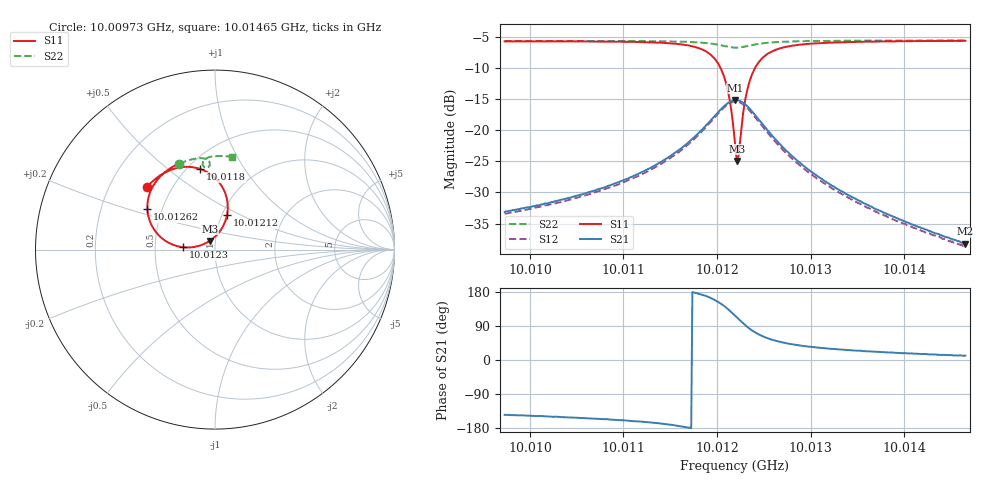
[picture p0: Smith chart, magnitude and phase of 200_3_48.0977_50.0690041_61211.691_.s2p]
#  HZ  S  RI  R  50.00
! Rohde & Schwarz Vector Network Analyzer
! Rohde-Schwarz,ZNB20-2Port,1311601062101988,3.16
! Created: UTC 12/23/2023, 3:54:40 AM
! freq[Hz]  re:S11  im:S11  re:S21  im:S21  re:S12  im:S12  re:S22  im:S22
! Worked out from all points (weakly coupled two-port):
!   401 points, 10.00973 GHz to 10.01465 GHz, reference 50 ohm
!   highest |S21| = -15.18 dB at 10.01219 GHz (marker M1); lowest = -38.2 dB at 10.01465 GHz (marker M2)
!   lowest |S11| = -24.9 dB at 10.01222 GHz (marker M3), VSWR 1.12, Z = 46.9 + j4.54 ohm
!   |S11| at or under -10 dB: 10.01204 GHz to 10.01241 GHz (370.7 kHz wide, 0.0037 % of centre)
!   |S22| runs from -6.8 to -5.6 dB; largest |S21 - S12| = 0.0086
!   S11 on the Smith chart (normalised r, x): 10.00973 GHz: 0.36, +0.34; 10.0118 GHz: 0.58, +0.65; 10.01212 GHz: 1.06, +0.42; 10.0123 GHz: 0.70, +0.02; 10.01262 GHz: 0.41, +0.23; 10.01465 GHz: 0.43, +0.57
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1.000973e10  -0.3803 0.348  -0.0179 -0.0128  -0.0168 -0.0133  -0.198 0.479
1.0010554e10  -0.3249 0.3995  -0.0272 -0.0137  -0.0255 -0.0147  -0.1459 0.4981
1.0010948e10  -0.2867 0.425  -0.0357 -0.0139  -0.0335 -0.015  -0.1191 0.5048
1.0011379e10  -0.2213 0.4524  -0.0532 -0.0122  -0.0503 -0.0144  -0.0866 0.5092
1.0011798e10  -0.0829 0.4491  -0.0938 0.00784  -0.0909 0.00261  -0.0483 0.5038
1.0011995e10  0.0363 0.3558  -0.123 0.0557  -0.1226 0.0473  -0.0303 0.486
1.0012069e10  0.0688 0.2681  -0.1247 0.0907  -0.1257 0.0827  -0.0287 0.4738
1.0012118e10  0.067 0.1921  -0.115 0.1188  -0.1175 0.1107  -0.032 0.4653
1.0012155e10  0.0458 0.132  -0.1001 0.139  -0.1035 0.1315  -0.0372 0.4602
1.0012192e10  0.00589 0.0775  -0.0794 0.1551  -0.0833 0.1478  -0.044 0.457
1.0012216e10  -0.0298 0.0483  -0.0629 0.1621  -0.0675 0.1553  -0.049 0.4566
1.0012241e10  -0.0703 0.0274  -0.0463 0.1656  -0.0502 0.1595  -0.0541 0.4573
1.0012278e10  -0.1352 0.0123  -0.0204 0.1647  -0.0244 0.1591  -0.0607 0.461
1.0012303e10  -0.1769 0.013  -0.00465 0.1606  -0.00918 0.1551  -0.064 0.4645
1.0012352e10  -0.2496 0.0338  0.0209 0.1462  0.015 0.1417  -0.0678 0.4727
1.0012413e10  -0.3128 0.079  0.0403 0.124  0.0347 0.1202  -0.0683 0.4829
1.00125e10  -0.3587 0.1479  0.052 0.0952  0.0462 0.0928  -0.0635 0.4946
1.0012623e10  -0.3767 0.2273  0.0531 0.0659  0.048 0.0647  -0.0529 0.5053
1.0013017e10  -0.345 0.3545  0.0378 0.0258  0.0348 0.0263  -0.0184 0.5184
1.0013398e10  -0.3056 0.4066  0.0272 0.0134  0.0251 0.0141  0.0108 0.5214
1.0013842e10  -0.2659 0.4412  0.0196 0.00716  0.0183 0.0078  0.042 0.5213
1.0014654e10  -0.2024 0.4796  0.012 0.00243  0.0113 0.00299  0.0963 0.5153
